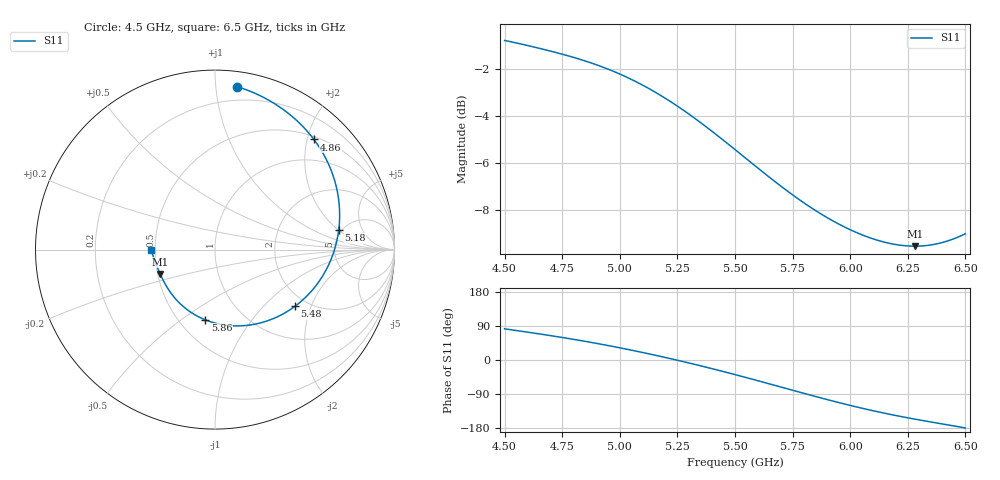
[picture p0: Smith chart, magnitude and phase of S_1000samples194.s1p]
! TOUCHSTONE file generated by CST MICROWAVE STUDIO
! Date and time: Thu Oct 27 08:09:23 2022
! Project name: L.cst
! Parameters = {Di=1.27; Epsilon_r=1.56; InnerDiameter=1.27; Length=2; Lf=10; Lg=60; OuterConductorThickness=0.2921; OuterDiameter=3.6; Wf=3; Wp=41.2; de=1.5; df=6.8; g=0.8; gx=2.58978; gy=2.90002; h=2.34; hf=1.524; px=12.2077; py=11.6099; w=9.7; wx=9.61796; wy=8.70986}
! Header version: 2018
! Port assignment regex: !\s*Touchstone port\s*([0-9]+)\s*=\s*(CST MWS port|CST DS port)\s*([0-9]+|Zmin|Zmax)\s*\(\"(.*)\"\)(\s*mode\s*([0-9]+))?.*
! Touchstone port assignment:
! Touchstone port 1 = CST MWS port 1 ("")
# GHz S DB R 50
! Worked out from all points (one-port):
!   101 points, 4.5 GHz to 6.5 GHz, reference 50 ohm
!   lowest |S11| = -9.5 dB at 6.28 GHz (marker M1), VSWR 2.00, Z = 25.8 - j7.91 ohm
!   |S11| at or under -10 dB: nowhere
!   S11 on the Smith chart (normalised r, x): 4.5 GHz: 0.10, +1.14; 4.86 GHz: 0.55, +2.12; 5.18 GHz: 4.72, +2.02; 5.48 GHz: 1.72, -1.55; 5.86 GHz: 0.67, -0.62; 6.5 GHz: 0.48, -0.00
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4.5  -0.77 82.2
4.56  -0.89 77.0
4.64  -1.08 69.8
4.76  -1.38 58.4
4.86  -1.67 48.1
4.94  -1.95 39.2
5  -2.20 32.1
5.06  -2.47 24.7
5.1  -2.67 19.7
5.18  -3.12 9.1
5.26  -3.63 -2.1
5.3  -3.90 -7.9
5.36  -4.33 -16.7
5.42  -4.78 -25.9
5.48  -5.25 -35.3
5.5  -5.41 -38.5
5.56  -5.89 -48.2
5.62  -6.36 -58.1
5.68  -6.82 -68.1
5.76  -7.41 -81.5
5.86  -8.07 -98.0
5.94  -8.53 -110.7
6  -8.82 -119.8
6.12  -9.28 -136.6
6.26  -9.52 -153.7
6.28  -9.52 -155.9
6.38  -9.42 -166.7
6.5  -8.99 -179.4
